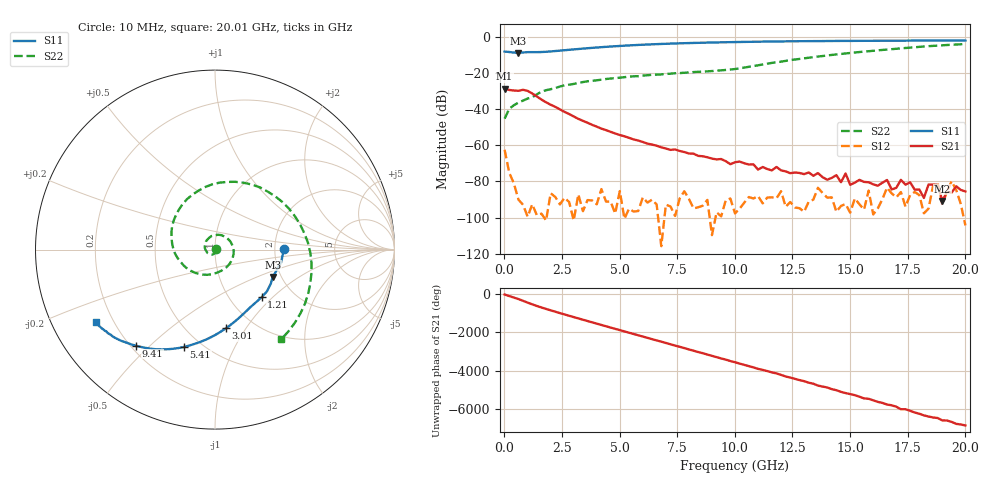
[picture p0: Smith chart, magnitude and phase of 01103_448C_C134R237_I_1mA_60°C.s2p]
!;Filter: kein Filter
!auto
!3/21/2019 9:26:39 AM
!3/21/2019 9:26:51 AM
!SP-Measurements Prober G4
!SP-Measurements Prober G4
!01103_448C
!134
!237
!12
!60
!-20
!0.00099996
!1.65
!0.05816927
!0.05816927
# Hz S  RI  R 50
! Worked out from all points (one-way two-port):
!   101 points, 10 MHz to 20.01 GHz, reference 50 ohm
!   highest |S21| = -28.74 dB at 10 MHz (marker M1); lowest = -90.7 dB at 19.01 GHz (marker M2)
!   lowest |S11| = -9.0 dB at 610 MHz (marker M3), VSWR 2.10, Z = 90.3 - j31.5 ohm
!   |S11| at or under -10 dB: nowhere
!   |S22| runs from -45.3 to -4.1 dB; largest |S21 - S12| = 0.037
!   S11 on the Smith chart (normalised r, x): 10 MHz: 2.25, +0.03; 1.21 GHz: 1.39, -0.86; 3.01 GHz: 0.75, -0.82; 5.41 GHz: 0.40, -0.65; 9.41 GHz: 0.22, -0.45; 20.01 GHz: 0.14, -0.28
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1e7  0.3852 0.00539  0.033 -0.0159  -0.000222 0.000717  0.00533 0.00096
2.1e8  0.3679 -0.0723  -0.00769 -0.0327  0.000173 2.49e-05  0.00884 -0.00484
4.1e8  0.343 -0.1158  -0.0323 0.00217  -8.19e-05 -3.54e-05  0.01 -0.00779
6.1e8  0.3213 -0.1524  -0.00472 0.0314  3.14e-05 -3.44e-06  0.00967 -0.0115
1.21e9  0.2597 -0.2658  -0.0268 -0.000904  -1.54e-05 1.76e-05  -0.00177 -0.021
3.01e9  0.0614 -0.4378  -0.00347 -0.00517  -7.95e-06 2.77e-06  -0.0484 -0.00867
3.41e9  0.02 -0.4648  -0.00076 0.00465  -1.48e-05 3.28e-06  -0.0553 0.0048
5.41e9  -0.1736 -0.5424  -0.00126 0.000989  -1.54e-05 -8.59e-06  -0.0171 0.0765
6.81e9  -0.2865 -0.5557  0.000732 0.000479  -7.67e-07 -1.44e-06  0.0584 0.0688
9.41e9  -0.4409 -0.5353  -0.000226 -0.000349  1.08e-05 -1.41e-06  0.066 -0.0965
1.001e10  -0.4681 -0.5275  0.000258 0.00022  -7.74e-06 1.06e-05  0.0185 -0.1256
1.341e10  -0.5761 -0.4788  0.000143 -4.91e-06  1.12e-05 -2.94e-05  -0.2393 0.1268
1.361e10  -0.579 -0.4755  -3.03e-05 -0.000168  -5.21e-05 4.19e-05  -0.2312 0.1595
1.401e10  -0.5889 -0.47  -0.000106 3.41e-05  3.47e-05 -9.21e-06  -0.2014 0.222
1.441e10  -0.5983 -0.4636  0.000143 4.45e-05  1.45e-05 1.68e-06  -0.1552 0.2817
1.461e10  -0.602 -0.4606  3.68e-05 -8.82e-05  2.39e-06 2.09e-05  -0.1245 0.3069
1.481e10  -0.6057 -0.4554  -0.000111 -0.000123  9.48e-06 2.19e-05  -0.0915 0.3289
1.501e10  -0.6073 -0.4544  -8.05e-05 6.13e-06  8.26e-06 -1.09e-05  -0.0559 0.348
1.541e10  -0.614 -0.4517  8.6e-05 6.94e-05  -2.34e-05 2.9e-07  0.025 0.373
1.681e10  -0.6328 -0.4373  3.91e-05 -4.57e-05  2.57e-05 3.91e-05  0.3376 0.295
1.901e10  -0.66 -0.413  -1.33e-05 -2.59e-05  2.08e-05 -9.45e-06  0.5198 -0.2431
2.001e10  -0.6634 -0.4036  4.91e-05 -2e-05  -2.75e-06 -5.48e-06  0.3692 -0.4999
